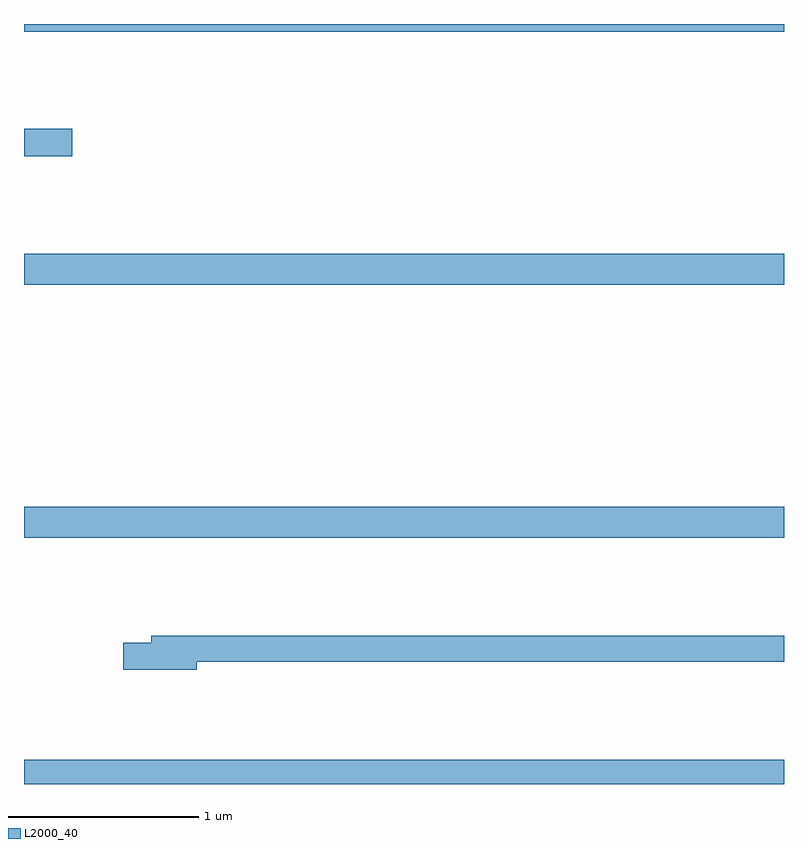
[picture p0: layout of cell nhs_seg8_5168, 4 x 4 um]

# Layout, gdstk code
import gdstk
lib = gdstk.Library(unit=1e-6, precision=1e-09)
def R(c, l, rs):  # rectangles x0, y0, x1, y1
    for r in rs: c.add(gdstk.rectangle(r[:2], r[2:], *l))
def P(c, l, *ps):  # polygons
    for p in ps: c.add(gdstk.Polygon(p, *l))
L2000_40 = (2000, 40)

nhs_seg8_5168 = lib.new_cell('nhs_seg8_5168')
R(nhs_seg8_5168, L2000_40, [(423,1085.9,427,1086.028), (423,1087.196,427,1087.36), (423,1088.528,427,1088.692), (423,1089.203,423.253,1089.35), (423,1089.86,427,1089.9)])
P(nhs_seg8_5168, L2000_40, [(423.91,1086.544),(427,1086.544),(427,1086.68),(423.671,1086.68),(423.671,1086.644),(423.522,1086.644),(423.522,1086.502),(423.91,1086.502)])

lib.write_gds('nhs_seg8_5168.gds')
